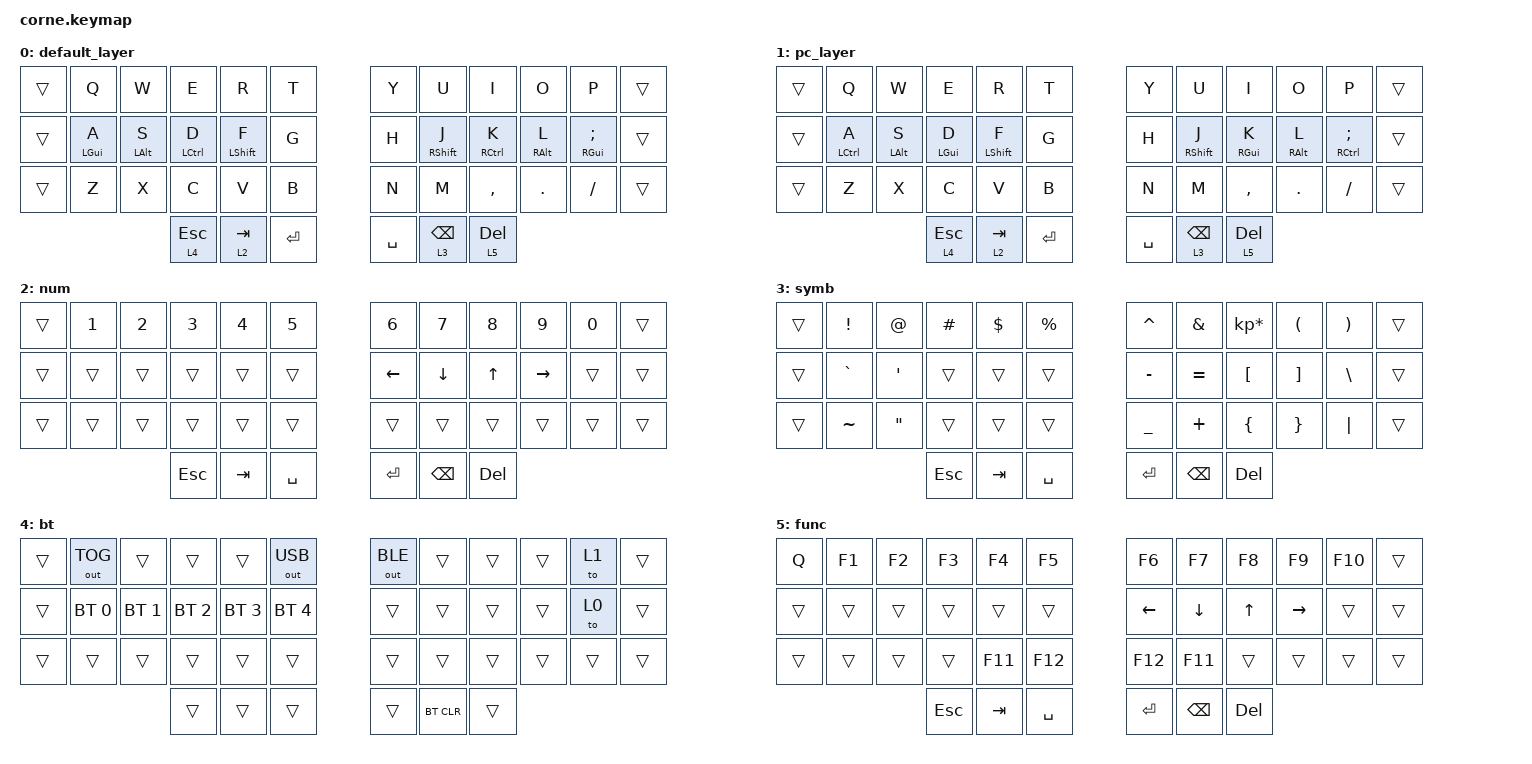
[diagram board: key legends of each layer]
/*
 * Copyright (c) 2020 The ZMK Contributors
 *
 * SPDX-License-Identifier: MIT
 */

#include <behaviors.dtsi>
#include <dt-bindings/zmk/bt.h>
#include <dt-bindings/zmk/keys.h>
#include <dt-bindings/zmk/outputs.h>

/ {
    behaviors {
        ht: hold_tap {
            compatible = "zmk,behavior-hold-tap";
            label = "Hold-Tap";
            bindings = <&kp>, <&kp>;

            #binding-cells = <2>;
            tapping-term-ms = <220>;
            quick-tap-ms = <150>;
            require-prior-idle-ms = <100>;
            flavor = "balanced";
        };

        htmo: htmo {
            compatible = "zmk,behavior-hold-tap";
            label = "HTMO";
            bindings = <&mo>, <&kp>;

            #binding-cells = <2>;
            tapping-term-ms = <220>;
            quick-tap-ms = <150>;
            require-prior-idle-ms = <100>;
        };
    };

    keymap {
        compatible = "zmk,keymap";

        default_layer {
            // -----------------------------------------------------------------------------------------
            // |  TAB |  Q  |  W  |  E  |  R  |  T  |   |  Y  |  U   |  I  |  O  |  P  | BKSP |
            // | CTRL |  A  |  S  |  D  |  F  |  G  |   |  H  |  J   |  K  |  L  |  ;  |  '   |
            // | SHFT |  Z  |  X  |  C  |  V  |  B  |   |  N  |  M   |  ,  |  .  |  /  | ESC  |
            //                    | GUI | LWR | SPC |   | ENT | RSE  | ALT |

            bindings = <
&trans  &kp Q           &kp W           &kp E               &kp R             &kp T        &kp Y      &kp U              &kp I                &kp O            &kp P               &trans
&trans  &ht LEFT_GUI A  &ht LEFT_ALT S  &ht LEFT_CONTROL D  &ht LEFT_SHIFT F  &kp G        &kp H      &ht RSHIFT J       &ht RIGHT_CONTROL K  &ht RIGHT_ALT L  &ht RIGHT_GUI SEMI  &trans
&trans  &kp Z           &kp X           &kp C               &kp V             &kp B        &kp N      &kp M              &kp COMMA            &kp DOT          &kp FSLH            &trans
                                        &htmo 4 ESC         &htmo 2 TAB       &kp ENTER    &kp SPACE  &htmo 3 BACKSPACE  &htmo 5 DELETE
            >;
        };

        pc_layer {
            bindings = <
&trans  &kp Q        &kp W           &kp E           &kp R             &kp T        &kp Y      &kp U              &kp I            &kp O            &kp P           &trans
&trans  &ht LCTRL A  &ht LEFT_ALT S  &ht LEFT_GUI D  &ht LEFT_SHIFT F  &kp G        &kp H      &ht RSHIFT J       &ht RIGHT_GUI K  &ht RIGHT_ALT L  &ht RCTRL SEMI  &trans
&trans  &kp Z        &kp X           &kp C           &kp V             &kp B        &kp N      &kp M              &kp COMMA        &kp DOT          &kp FSLH        &trans
                                     &htmo 4 ESC     &htmo 2 TAB       &kp ENTER    &kp SPACE  &htmo 3 BACKSPACE  &htmo 5 DELETE
            >;
        };

        num {
            // -----------------------------------------------------------------------------------------
            // |  TAB |  1  |  2  |  3  |  4  |  5  |   |  6  |  7  |  8  |  9  |  0  | BKSP |
            // | BTCLR| BT1 | BT2 | BT3 | BT4 | BT5 |   | LFT | DWN |  UP | RGT |     |      |
            // | SHFT |     |     |     |     |     |   |     |     |     |     |     |      |
            //                    | GUI |     | SPC |   | ENT |     | ALT |

            bindings = <
&trans  &kp N1  &kp N2  &kp N3   &kp N4   &kp N5       &kp N6    &kp N7         &kp N8      &kp N9     &kp N0  &trans
&trans  &trans  &trans  &trans   &trans   &trans       &kp LEFT  &kp DOWN       &kp UP      &kp RIGHT  &trans  &trans
&trans  &trans  &trans  &trans   &trans   &trans       &trans    &trans         &trans      &trans     &trans  &trans
                        &kp ESC  &kp TAB  &kp SPACE    &kp RET   &kp BACKSPACE  &kp DELETE
            >;
        };

        symb {
            // -----------------------------------------------------------------------------------------
            // |  TAB |  !  |  @  |  #  |  $  |  %  |   |  ^  |  &  |  *  |  (  |  )  | BKSP |
            // | CTRL |     |     |     |     |     |   |  -  |  =  |  [  |  ]  |  \  |  `   |
            // | SHFT |     |     |     |     |     |   |  _  |  +  |  {  |  }  | "|" |  ~   |
            //                    | GUI |     | SPC |   | ENT |     | ALT |

            bindings = <
&trans  &kp EXCL   &kp AT             &kp HASH  &kp DLLR  &kp PRCNT    &kp CARET  &kp AMPS       &kp KP_MULTIPLY  &kp LPAR  &kp RPAR  &trans
&trans  &kp GRAVE  &kp SINGLE_QUOTE   &trans    &trans    &trans       &kp MINUS  &kp EQUAL      &kp LBKT         &kp RBKT  &kp BSLH  &trans
&trans  &kp TILDE  &kp DOUBLE_QUOTES  &trans    &trans    &trans       &kp UNDER  &kp PLUS       &kp LBRC         &kp RBRC  &kp PIPE  &trans
                                      &kp ESC   &kp TAB   &kp SPACE    &kp RET    &kp BACKSPACE  &kp DELETE
            >;
        };

        bt {
            bindings = <
&trans  &out OUT_TOG  &trans        &trans        &trans        &out OUT_USB    &out OUT_BLE  &trans      &trans  &trans  &to 1   &trans
&trans  &bt BT_SEL 0  &bt BT_SEL 1  &bt BT_SEL 2  &bt BT_SEL 3  &bt BT_SEL 4    &trans        &trans      &trans  &trans  &to 0   &trans
&trans  &trans        &trans        &trans        &trans        &trans          &trans        &trans      &trans  &trans  &trans  &trans
                                    &trans        &trans        &trans          &trans        &bt BT_CLR  &trans
            >;
        };

        func {
            bindings = <
&kp Q   &kp F1  &kp F2  &kp F3   &kp F4   &kp F5       &kp F6    &kp F7         &kp F8      &kp F9     &kp F10  &trans
&trans  &trans  &trans  &trans   &trans   &trans       &kp LEFT  &kp DOWN       &kp UP      &kp RIGHT  &trans   &trans
&trans  &trans  &trans  &trans   &kp F11  &kp F12      &kp F12   &kp F11        &trans      &trans     &trans   &trans
                        &kp ESC  &kp TAB  &kp SPACE    &kp RET   &kp BACKSPACE  &kp DELETE
            >;
        };
    };
};
